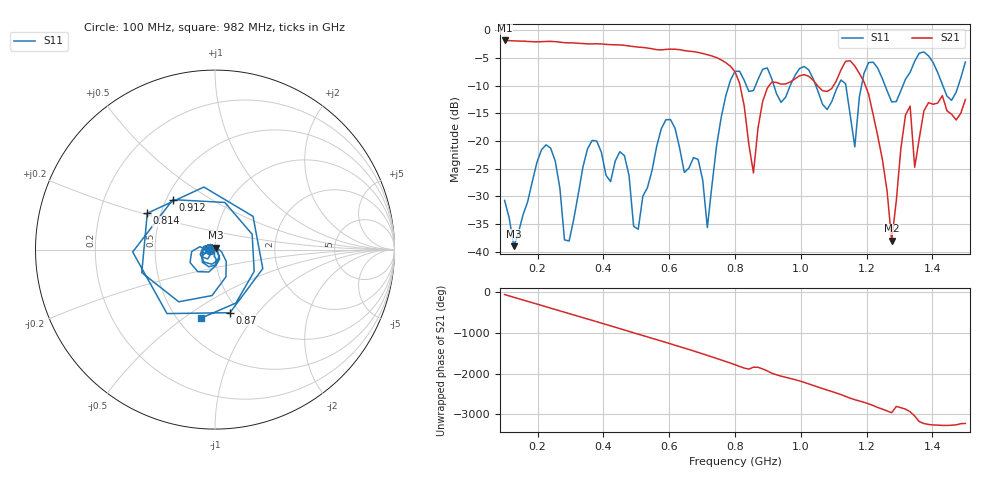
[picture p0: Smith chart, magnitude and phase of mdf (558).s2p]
! NanoVNA-App
! Date: 2025-09-25 15:42:45
! Start: 100MHz Stop: 1,5GHz Points: 101
! S-Parameter data: F S11 S21 S12 S22
# Hz S RI R 50
!  Frequency  S11_Real  S11_Imag  S21_Real  S21_Imag  S12_Real  S12_Imag  S22_Real  S22_Imag
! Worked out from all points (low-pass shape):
!   101 points, 100 MHz to 1.5 GHz, reference 50 ohm
!   highest |S21| = -1.80 dB at 100 MHz (marker M1); lowest = -38.0 dB at 1.276 GHz (marker M2)
!   |S21| within 3 dB of the highest: start of sweep to 739.2 MHz
!   lowest |S11| = -39.0 dB at 128 MHz (marker M3), VSWR 1.02, Z = 50.3 + j1.08 ohm
!   |S11| at or under -10 dB: start of sweep to 781.1 MHz; 1.046 GHz to 1.113 GHz (67.57 MHz wide, 6.26 % of centre); 1.256 GHz to 1.31 GHz (53.69 MHz wide, 4.18 % of centre)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
!   S12 and S22 are empty: the file has one direction only
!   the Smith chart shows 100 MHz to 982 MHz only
!   S11 on the Smith chart (normalised r, x): 100 MHz: 0.94, -0.01; 814 MHz: 0.42, +0.21; 870 MHz: 0.90, -0.73; 912 MHz: 0.54, +0.35; 982 MHz: 0.64, -0.58
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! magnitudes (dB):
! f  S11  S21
! 100 MHz  -30.7  -1.8
! 128 MHz  -39.0  -1.9
! 212 MHz  -21.6  -2.0
! 282 MHz  -37.9  -2.2
! 338 MHz  -24.7  -2.4
! 464 MHz  -22.6  -2.7
! 506 MHz  -35.9  -3.0
! 576 MHz  -17.8  -3.5
! 716 MHz  -35.6  -4.4
! 800 MHz  -7.4  -7.4
! 814 MHz  -7.4  -9.6
! 856 MHz  -10.9  -25.8
! 870 MHz  -8.8  -17.6
! 912 MHz  -8.8  -9.3
! 982 MHz  -8.2  -8.8
! 1.038 GHz  -8.8  -9.0
! 1.164 GHz  -21.0  -6.4
! 1.192 GHz  -7.7  -9.3
! 1.276 GHz  -12.9  -38.0
! 1.332 GHz  -7.6  -13.7
! 1.346 GHz  -5.6  -24.7
! 1.5 GHz  -5.7  -12.5
